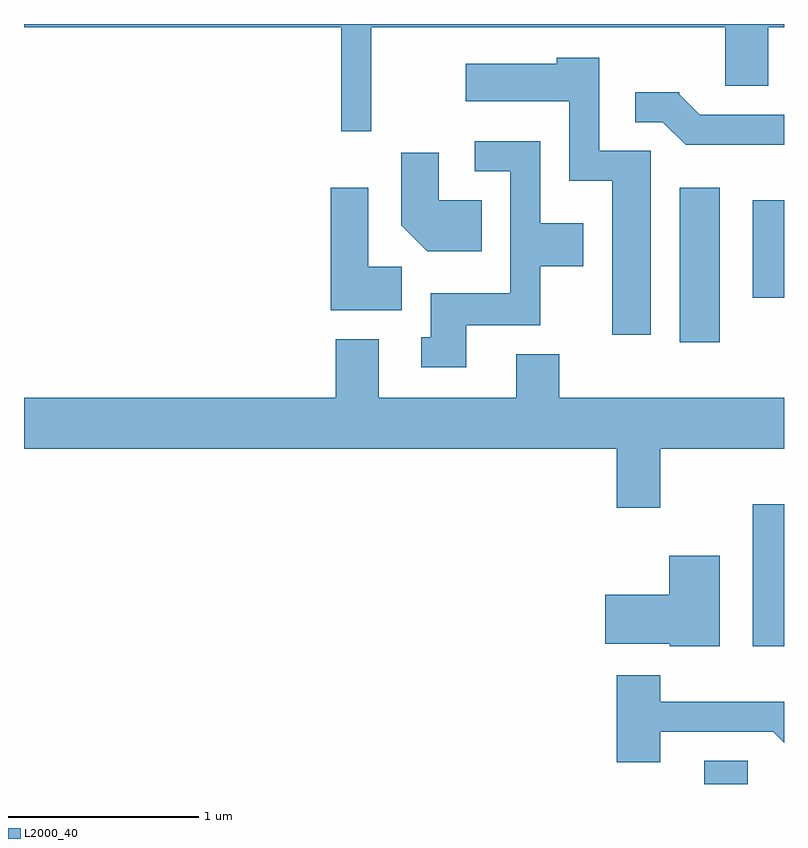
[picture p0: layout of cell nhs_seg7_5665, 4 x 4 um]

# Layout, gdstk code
import gdstk
lib = gdstk.Library(unit=1e-6, precision=1e-09)
def R(c, l, rs):  # rectangles x0, y0, x1, y1
    for r in rs: c.add(gdstk.rectangle(r[:2], r[2:], *l))
def P(c, l, *ps):  # polygons
    for p in ps: c.add(gdstk.Polygon(p, *l))
L2000_40 = (2000, 40)

nhs_seg7_5665 = lib.new_cell('nhs_seg7_5665')
R(nhs_seg7_5665, L2000_40, [(361.191,1790.252,361.419,1790.374), (361.446,1790.976,361.611,1791.724), (361.061,1792.576,361.274,1793.389), (361.446,1792.811,361.611,1793.324)])
P(nhs_seg7_5665, L2000_40, [(359.439,1794.236),(361.301,1794.236),(361.301,1793.926),(361.529,1793.926),(361.529,1794.236),(361.611,1794.236),(361.611,1794.252),(357.611,1794.252),(357.611,1794.236),(359.281,1794.236),(359.281,1793.688),(359.439,1793.688)],
  [(360.909,1793.584),(360.639,1793.584),(360.639,1794.074),(360.416,1794.074),(360.416,1794.044),(359.936,1794.044),(359.936,1793.846),(360.481,1793.846),(360.481,1793.426),(360.706,1793.426),(360.706,1792.616),(360.909,1792.616)],
  [(361.611,1793.774),(361.167,1793.774),(361.06,1793.881),(361.06,1793.894),(360.828,1793.894),(360.828,1793.736),(360.974,1793.736),(361.094,1793.616),(361.611,1793.616)],
  [(359.939,1792.666),(360.329,1792.666),(360.329,1792.976),(360.554,1792.976),(360.554,1793.204),(360.329,1793.204),(360.329,1793.634),(359.983,1793.634),(359.983,1793.476),(360.171,1793.476),(360.171,1792.834),(359.751,1792.834),(359.751,1792.604),(359.703,1792.604),(359.703,1792.446),(359.939,1792.446)],
  [(360.019,1793.324),(359.794,1793.324),(359.794,1793.574),(359.596,1793.574),(359.596,1793.194),(359.734,1793.056),(360.019,1793.056)],
  [(359.599,1792.974),(359.424,1792.974),(359.424,1793.389),(359.226,1793.389),(359.226,1792.746),(359.599,1792.746)],
  [(360.959,1792.016),(361.611,1792.016),(361.611,1792.284),(360.429,1792.284),(360.429,1792.514),(360.201,1792.514),(360.201,1792.284),(359.479,1792.284),(359.479,1792.594),(359.251,1792.594),(359.251,1792.284),(357.611,1792.284),(357.611,1792.016),(360.731,1792.016),(360.731,1791.706),(360.959,1791.706)],
  [(361.274,1791.454),(361.006,1791.454),(361.006,1791.249),(360.671,1791.249),(360.671,1790.991),(361.01,1790.991),(361.01,1790.976),(361.274,1790.976)],
  [(360.959,1790.526),(361.554,1790.526),(361.611,1790.469),(361.611,1790.684),(360.959,1790.684),(360.959,1790.824),(360.731,1790.824),(360.731,1790.366),(360.959,1790.366)])

lib.write_gds('nhs_seg7_5665.gds')
